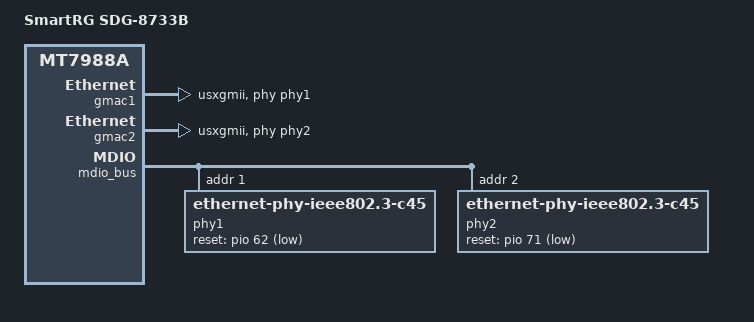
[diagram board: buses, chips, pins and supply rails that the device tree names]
// SPDX-License-Identifier: (GPL-2.0 OR MIT)
/*
 * Copyright (C) 2026 SmartRG Inc.
 * Author: Chad Monroe <chad.monroe@smartrg.com>
 *
 * Mt. Stuart phase 5 skeleton. Known hardware: dual RTL8261 10G
 * PHYs with the SDG-8713 reset mapping plus mdi-reversal, MT7995
 * tri-band radio like SDG-8733A/9732i. Not yet wired into the image
 * build; TBD markers need the PRD/schematic before this can ship.
 */

#include "mt7988-smartrg-base.dtsi"
#include "mt7988-smartrg-sysled.dtsi"
#include "mt7988-smartrg-wifi-mt7995.dtsi"

/*
 * TBD: power-limit tables (files do not exist yet)
 * #include "mt7988a-smartrg-SDG-8733B-power-limits-r0-RCM-AU-NZ.dtsi"
 * ...
 */

/ {
	model = "SmartRG SDG-8733B";
	compatible = "smartrg,sdg-8733b", "mediatek,mt7988a";

	aliases {
		label-mac-device = &gmac2;
	};

	chosen {
		linux,usable-memory-range = <0x0 0x40000000 0x0 0x3fc00000>;
	};

	/* TBD: sync/WPS button presence */
	/* TBD: gpio-export (Bluetooth?) */
	/* TBD: fan and thermal zones */
	/* TBD: gpio-leds */
};

&gmac1 {
	nvmem-cells = <&macaddr 0x1>;
	nvmem-cell-names = "mac-address";
	label = "lan1";
	phy-mode = "usxgmii";
	phy = <&phy1>;

	status = "okay";
};

&gmac2 {
	nvmem-cells = <&macaddr 0x0>;
	nvmem-cell-names = "mac-address";
	label = "wan";
	phy-mode = "usxgmii";
	phy = <&phy2>;

	status = "okay";
};

&mdio_bus {
	phy1: ethernet-phy@1 {
		/* Realtek RTL8261 - LAN1 (USXGMII_1) */
		compatible = "ethernet-phy-ieee802.3-c45";
		reg = <1>;
		#thermal-sensor-cells = <0>;

		reset-gpios = <&pio 62 GPIO_ACTIVE_LOW>;
		reset-assert-us = <100000>;
		reset-deassert-us = <221000>;
		mdi-reversal = /bits/ 16 <0>;

		/* TBD: PHY LED configuration */
	};

	phy2: ethernet-phy@2 {
		/* Realtek RTL8261 - WAN (USXGMII_0) */
		compatible = "ethernet-phy-ieee802.3-c45";
		reg = <2>;
		#thermal-sensor-cells = <0>;

		reset-gpios = <&pio 71 GPIO_ACTIVE_LOW>;
		reset-assert-us = <100000>;
		reset-deassert-us = <221000>;
		mdi-reversal = /bits/ 16 <0>;

		/* TBD: PHY LED configuration */
	};
};

/*
 * TBD: pcie0 pin group for the MT7995 main function. 8733A muxes
 * pcie0_1_pins (no CLKREQ/WAKE pins), 9732i keeps the upstream
 * default pcie0_pins; confirm board routing before enabling wifi.
 */

/*
 * TBD: the 1GbE LAN port. Likely one gsw port (lan2); define the
 * switch port mapping, LEDs and disable the unused gsw phys.
 */
